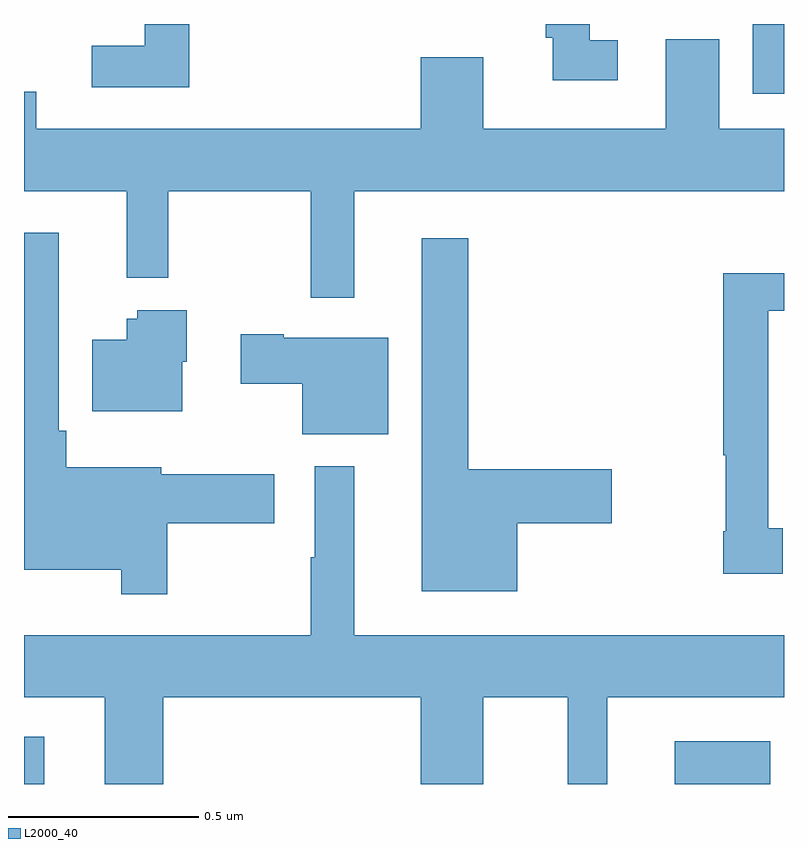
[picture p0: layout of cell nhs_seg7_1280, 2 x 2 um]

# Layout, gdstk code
import gdstk
lib = gdstk.Library(unit=1e-6, precision=1e-09)
def R(c, l, rs):  # rectangles x0, y0, x1, y1
    for r in rs: c.add(gdstk.rectangle(r[:2], r[2:], *l))
def P(c, l, *ps):  # polygons
    for p in ps: c.add(gdstk.Polygon(p, *l))
L2000_40 = (2000, 40)

nhs_seg7_1280 = lib.new_cell('nhs_seg7_1280')
R(nhs_seg7_1280, L2000_40, [(128,1055,128.053,1055.125), (129.713,1055,129.964,1055.113), (129.918,1056.816,130,1057)])
P(nhs_seg7_1280, L2000_40, [(128.435,1057),(128.318,1057),(128.318,1056.943),(128.178,1056.943),(128.178,1056.834),(128.435,1056.834)],
  [(129.562,1056.957),(129.489,1056.957),(129.489,1057),(129.373,1057),(129.373,1056.964),(129.392,1056.964),(129.392,1056.852),(129.562,1056.852)],
  [(128.869,1056.56),(130,1056.56),(130,1056.724),(129.829,1056.724),(129.829,1056.96),(129.689,1056.96),(129.689,1056.724),(129.208,1056.724),(129.208,1056.913),(129.044,1056.913),(129.044,1056.724),(128.032,1056.724),(128.032,1056.822),(128,1056.822),(128,1056.56),(128.27,1056.56),(128.27,1056.332),(128.38,1056.332),(128.38,1056.56),(128.755,1056.56),(128.755,1056.279),(128.869,1056.279)],
  [(128.377,1055.686),(128.659,1055.686),(128.659,1055.815),(128.361,1055.815),(128.361,1055.833),(128.111,1055.833),(128.111,1055.929),(128.091,1055.929),(128.091,1056.451),(128,1056.451),(128,1055.564),(128.256,1055.564),(128.256,1055.499),(128.377,1055.499)],
  [(129.298,1055.686),(129.547,1055.686),(129.547,1055.828),(129.169,1055.828),(129.169,1056.436),(129.047,1056.436),(129.047,1055.507),(129.298,1055.507)],
  [(129.997,1055.673),(129.958,1055.673),(129.958,1056.246),(130,1056.246),(130,1056.344),(129.84,1056.344),(129.84,1055.865),(129.847,1055.865),(129.847,1055.665),(129.84,1055.665),(129.84,1055.553),(129.997,1055.553)],
  [(128.416,1056.111),(128.428,1056.111),(128.428,1056.247),(128.298,1056.247),(128.298,1056.225),(128.27,1056.225),(128.27,1056.169),(128.18,1056.169),(128.18,1055.981),(128.416,1055.981)],
  [(128.959,1056.175),(128.683,1056.175),(128.683,1056.183),(128.571,1056.183),(128.571,1056.053),(128.732,1056.053),(128.732,1055.921),(128.959,1055.921)],
  [(128.366,1055.228),(129.044,1055.228),(129.044,1055),(129.208,1055),(129.208,1055.228),(129.431,1055.228),(129.431,1055),(129.535,1055),(129.535,1055.228),(130,1055.228),(130,1055.392),(128.869,1055.392),(128.869,1055.836),(128.765,1055.836),(128.765,1055.597),(128.755,1055.597),(128.755,1055.392),(128,1055.392),(128,1055.228),(128.213,1055.228),(128.213,1055),(128.366,1055)])

lib.write_gds('nhs_seg7_1280.gds')
